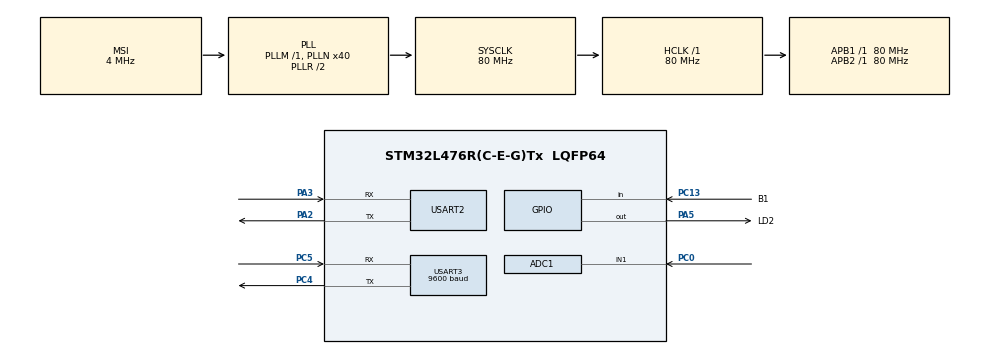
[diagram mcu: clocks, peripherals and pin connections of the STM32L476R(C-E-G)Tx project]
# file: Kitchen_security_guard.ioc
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ADC1.Channel-0\#ChannelRegularConversion=ADC_CHANNEL_1
ADC1.NbrOfConversionFlag=1
ADC1.OffsetNumber-0\#ChannelRegularConversion=ADC_OFFSET_NONE
ADC1.Rank-0\#ChannelRegularConversion=1
ADC1.SamplingTime-0\#ChannelRegularConversion=ADC_SAMPLETIME_2CYCLES_5
ADC1.master=1
Mcu.Family=STM32L4
Mcu.Name=STM32L476R(C-E-G)Tx
Mcu.Package=LQFP64
NVIC.PriorityGroup=NVIC_PRIORITYGROUP_4
NVIC.USART2_IRQn=true\:0\:0\:false\:false\:true\:true\:true
NVIC.USART3_IRQn=true\:0\:0\:false\:false\:true\:true\:true
PA13\ (JTMS-SWDIO).Mode=Serial_Wire
PA13\ (JTMS-SWDIO).Signal=SYS_JTMS-SWDIO
PA14\ (JTCK-SWCLK).Mode=Serial_Wire
PA14\ (JTCK-SWCLK).Signal=SYS_JTCK-SWCLK
PA2.Mode=Asynchronous
PA2.Signal=USART2_TX
PA3.Mode=Asynchronous
PA3.Signal=USART2_RX
PA5.GPIO_Label=LD2
PA5.Signal=GPIO_Output
PC0.Signal=ADCx_IN1
PC13.GPIO_Label=B1
PC13.GPIO_PuPd=GPIO_PULLUP
PC13.Signal=GPIO_Input
PC14-OSC32_IN\ (PC14).Mode=LSE-External-Oscillator
PC14-OSC32_IN\ (PC14).Signal=RCC_OSC32_IN
PC15-OSC32_OUT\ (PC15).Mode=LSE-External-Oscillator
PC15-OSC32_OUT\ (PC15).Signal=RCC_OSC32_OUT
PC4.Mode=Asynchronous
PC4.Signal=USART3_TX
PC5.Mode=Asynchronous
PC5.Signal=USART3_RX
ProjectManager.HeapSize=0x200
ProjectManager.StackSize=0x400
ProjectManager.TargetToolchain=MDK-ARM V5.32
RCC.ADCFreq_Value=32000000
RCC.AHBFreq_Value=80000000
RCC.APB1Freq_Value=80000000
RCC.APB1TimFreq_Value=80000000
RCC.APB2Freq_Value=80000000
RCC.APB2TimFreq_Value=80000000
RCC.CortexFreq_Value=80000000
RCC.HCLKFreq_Value=80000000
RCC.HSE_VALUE=8000000
RCC.HSI_VALUE=16000000
RCC.MSI_VALUE=4000000
RCC.PLLN=40
RCC.PLLSAI1N=16
RCC.SYSCLKFreq_VALUE=80000000
RCC.SYSCLKSource=RCC_SYSCLKSOURCE_PLLCLK
RCC.USBFreq_Value=32000000
RCC.VCOOutputFreq_Value=160000000
SH.ADCx_IN1.0=ADC1_IN1,IN1-Single-Ended
USART2.VirtualMode-Asynchronous=VM_ASYNC
USART3.BaudRate=9600
USART3.VirtualMode-Asynchronous=VM_ASYNC
board=custom

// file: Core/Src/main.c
/* USER CODE BEGIN Header */
/**
  ******************************************************************************
  * @file           : main.c
  * @brief          : Main program body
  ******************************************************************************
  * @attention
  *
  * <h2><center>&copy; Copyright (c) 2024 STMicroelectronics.
  * All rights reserved.</center></h2>
  *
  * This software component is licensed by ST under BSD 3-Clause license,
  * the "License"; You may not use this file except in compliance with the
  * License. You may obtain a copy of the License at:
  *                        opensource.org/licenses/BSD-3-Clause
  *
  ******************************************************************************
  */
/* USER CODE END Header */
#include "main.h"
#include "adc.h"
#include "usart.h"
#include "gpio.h"

/* USER CODE BEGIN PV */
const char stringMode1[8]="mode1#";
const char stringMode2[8]="mode2#";
const char stringStop[8]="stop#";
int8_t ledMode = -1;

#define UartRxBuffsize 256
char Uart2RxBuffer[UartRxBuffsize] = {0};
uint8_t aUart2RxBuff;//这里为什么用uint8_t
uint8_t Uart2RxCnt = 0;
/* USER CODE END PV */

void SystemClock_Config(void);

int main(void)
{

  /* MCU Configuration--------------------------------------------------------*/

  /* Reset of all peripherals, Initializes the Flash interface and the Systick. */
  HAL_Init();

  /* Configure the system clock */
  SystemClock_Config();

  /* Initialize all configured peripherals */
  MX_GPIO_Init();
  MX_ADC1_Init();
  MX_USART2_UART_Init();
  MX_USART3_UART_Init();
  /* USER CODE BEGIN 2 */

	char TxData[20] = "hello world!";
	printf("Hello STM32L476RG!\r\n");
	printf("TxData[1]= %c\r\n",TxData[1]);
	HAL_UART_Transmit(&huart2,(uint8_t *)TxData,sizeof(TxData),100);
	HAL_UART_Transmit(&huart2,(uint8_t *)"\r\n",2,100);
	HAL_UART_Receive_IT(&huart2,(uint8_t *)&aUart2RxBuff,1);
	HAL_GPIO_WritePin(LD2_GPIO_Port,LD2_Pin,GPIO_PIN_SET);
  /* USER CODE END 2 */

  /* Infinite loop */
  while (1)
  {

  }
}

void SystemClock_Config(void)
{
  RCC_OscInitTypeDef RCC_OscInitStruct = {0};
  RCC_ClkInitTypeDef RCC_ClkInitStruct = {0};

  /** Configure the main internal regulator output voltage
  */
  if (HAL_PWREx_ControlVoltageScaling(PWR_REGULATOR_VOLTAGE_SCALE1) != HAL_OK)
  {
    Error_Handler();
  }
  /** Configure LSE Drive Capability
  */
  HAL_PWR_EnableBkUpAccess();
  __HAL_RCC_LSEDRIVE_CONFIG(RCC_LSEDRIVE_LOW);
  /** Initializes the RCC Oscillators according to the specified parameters
  * in the RCC_OscInitTypeDef structure.
  */
  RCC_OscInitStruct.OscillatorType = RCC_OSCILLATORTYPE_LSE|RCC_OSCILLATORTYPE_MSI;
  RCC_OscInitStruct.LSEState = RCC_LSE_ON;
  RCC_OscInitStruct.MSIState = RCC_MSI_ON;
  RCC_OscInitStruct.MSICalibrationValue = 0;
  RCC_OscInitStruct.MSIClockRange = RCC_MSIRANGE_6;
  RCC_OscInitStruct.PLL.PLLState = RCC_PLL_ON;
  RCC_OscInitStruct.PLL.PLLSource = RCC_PLLSOURCE_MSI;
  RCC_OscInitStruct.PLL.PLLM = 1;
  RCC_OscInitStruct.PLL.PLLN = 40;
  RCC_OscInitStruct.PLL.PLLP = RCC_PLLP_DIV7;
  RCC_OscInitStruct.PLL.PLLQ = RCC_PLLQ_DIV2;
  RCC_OscInitStruct.PLL.PLLR = RCC_PLLR_DIV2;
  if (HAL_RCC_OscConfig(&RCC_OscInitStruct) != HAL_OK)
  {
    Error_Handler();
  }
  /** Initializes the CPU, AHB and APB buses clocks
  */
  RCC_ClkInitStruct.ClockType = RCC_CLOCKTYPE_HCLK|RCC_CLOCKTYPE_SYSCLK
                              |RCC_CLOCKTYPE_PCLK1|RCC_CLOCKTYPE_PCLK2;
  RCC_ClkInitStruct.SYSCLKSource = RCC_SYSCLKSOURCE_PLLCLK;
  RCC_ClkInitStruct.AHBCLKDivider = RCC_SYSCLK_DIV1;
  RCC_ClkInitStruct.APB1CLKDivider = RCC_HCLK_DIV1;
  RCC_ClkInitStruct.APB2CLKDivider = RCC_HCLK_DIV1;

  if (HAL_RCC_ClockConfig(&RCC_ClkInitStruct, FLASH_LATENCY_4) != HAL_OK)
  {
    Error_Handler();
  }
  /** Enable MSI Auto calibration
  */
  HAL_RCCEx_EnableMSIPLLMode();
}

/* USER CODE BEGIN 4 */
void HAL_UART_RxCpltCallback(UART_HandleTypeDef *huart){
	UNUSED(huart);
	if(Uart2RxCnt >= 255){
		Uart2RxCnt = 0;
		memset(Uart2RxBuffer,0x00,sizeof(Uart2RxBuffer));
		HAL_UART_Transmit(&huart2,(uint8_t *)"数据溢出",10,0xFFFF);
	}
	else{
		if(huart == &huart2){
			Uart2RxBuffer[Uart2RxCnt++] = aUart2RxBuff;
			if((Uart2RxBuffer[Uart2RxCnt-1] == 0x0A)
				&&(Uart2RxBuffer[Uart2RxCnt-2] == 0x0D)
				&&(Uart2RxBuffer[Uart2RxCnt-3] == '#')){
				if(strstr((const char *)Uart2RxBuffer,stringMode1)!=NULL){
					 printf("I'm in mode_1!\r\n");
					 ledMode = 1;
					 HAL_GPIO_WritePin(LD2_GPIO_Port,LD2_Pin,GPIO_PIN_SET);
				}
				else if(strstr((const char *)Uart2RxBuffer,stringMode2)!=NULL)	{
					 printf("I'm in mode_2!\r\n");
					 ledMode = 2;
					 HAL_GPIO_WritePin(LD2_GPIO_Port,LD2_Pin,GPIO_PIN_RESET);
				}
				else if(strstr((const char *)Uart2RxBuffer,stringStop)!=NULL)	{
					 printf("I'm stop!\r\n");
					 ledMode = 0;
				}
				HAL_UART_Transmit(&huart2, (uint8_t *)&Uart2RxBuffer, Uart2RxCnt,0xFFFF); //将收到的信息发送出去
				printf("hello\r\n");
				while(HAL_UART_GetState(&huart2) == HAL_UART_STATE_BUSY_TX);//检测UART发送结束
				Uart2RxCnt = 0;
				memset(Uart2RxBuffer,0x00,sizeof(Uart2RxBuffer)); //清空数组
			}
		}
	}
	HAL_UART_Receive_IT(&huart2, (uint8_t *)&aUart2RxBuff, 1);   //再开启接收中断
}
/* USER CODE END 4 */

void Error_Handler(void)
{
  __disable_irq();
  while (1)
  {
  }
}

/************************ (C) COPYRIGHT STMicroelectronics *****END OF FILE****/
